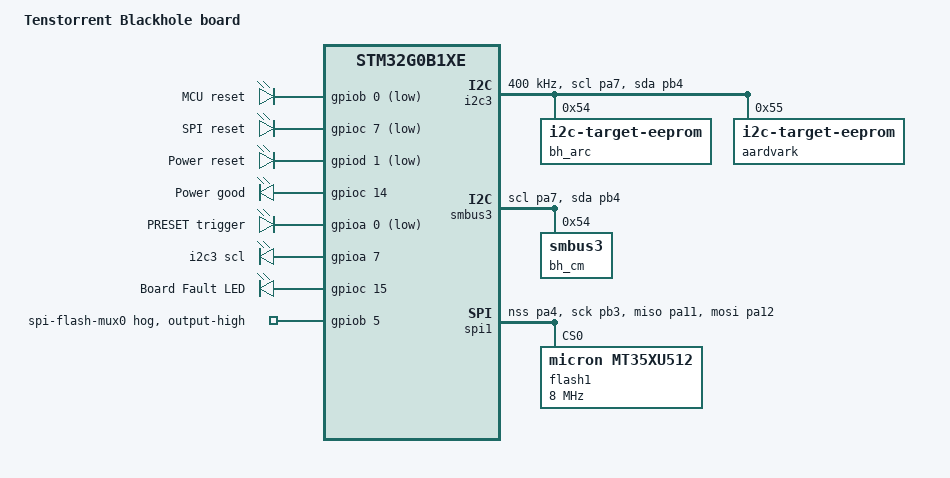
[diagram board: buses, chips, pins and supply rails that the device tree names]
/*
 * Copyright (c) 2024 Tenstorrent AI ULC
 *
 * SPDX-License-Identifier: Apache-2.0
 */

/dts-v1/;
#include <st/g0/stm32g0b1Xe.dtsi>
#include <st/g0/stm32g0b1c(b-c-e)tx-pinctrl.dtsi>

/ {
	model = "Tenstorrent Blackhole board";
	compatible = "tenstorrent,blackhole";

	chosen {
		zephyr,sram = &sram0;
		zephyr,flash = &flash0;
		zephyr,code-partition = &slot0_partition;
	};

	mcureset {
		compatible = "gpio-leds";
		mcureset0: mcureset {
			label = "MCU reset";
			gpios = <&gpiob 0 GPIO_ACTIVE_LOW>;
		};

		spireset0: spireset {
			label = "SPI reset";
			gpios = <&gpioc 7 GPIO_ACTIVE_LOW>;
		};

		powerreset0: powerreset {
			label = "Power reset";
			gpios = <&gpiod 1 GPIO_ACTIVE_LOW>;
		};

		pgood0: pgood {
			label = "Power good";
			gpios = <&gpioc 14 GPIO_PULL_DOWN>;
		};

		presettrigger0: preset_trigger {
			label = "PRESET trigger";
			gpios = <&gpioa 0 GPIO_ACTIVE_LOW>;
		};

		i2c_scl: i2cscl {
			label = "i2c3 scl";
			gpios = <&gpioa 7 GPIO_ACTIVE_HIGH>;
		};

		board_fault_led: boardfaultled {
			label = "Board Fault LED";
			gpios = <&gpioc 15 GPIO_ACTIVE_HIGH>;
		};
	};

	aliases {
		die-temp0 = &die_temp;
		volt-sensor0 = &vref;
		i2c1 = &i2c1;
		cm-i2c = &i2c3;
		reset-mcu = &mcureset0;
		reset-spi = &spireset0;
		reset-power = &powerreset0;
		pgood = &pgood0;
		preset-trigger = &presettrigger0;
		i2c3-scl = &i2c_scl;

		bh-smbus = &smbus3;
		board-fault-led = &board_fault_led;
	};
};

&clk_lsi {
	clock-frequency = <DT_FREQ_K(32)>;
	status = "okay";
};

&clk_hsi {
	clock-frequency = <DT_FREQ_M(16)>;
	status = "okay";
};

&pll {
	clocks = <&clk_hsi>;
	div-m = <1>;
	mul-n = <8>;
	div-r = <2>;
	div-q = <2>;
	div-p = <2>;
	status = "okay";
};

&rcc {
	clocks = <&pll>;
	clock-frequency = <DT_FREQ_M(64)>;
	ahb-prescaler = <1>;
	apb1-prescaler = <1>;
};

&i2c3 {
	pinctrl-0 = <&i2c3_scl_pa7 &i2c3_sda_pb4>;
	pinctrl-names = "default";
	status = "okay";
	clock-frequency = <I2C_BITRATE_FAST>;
	compatible = "st,tt-stm32-i2c";

	scl-gpios = <&gpioa 7 GPIO_OPEN_DRAIN>;
	sda-gpios = <&gpiob 4 GPIO_OPEN_DRAIN>;

	bh_arc: i2c@54 {
		compatible = "zephyr,i2c-target-eeprom";
		reg = <0x54>;
		status = "okay";
	};

	aardvark: eeprom@55 {
		compatible = "zephyr,i2c-target-eeprom";
		reg = <0x55>;
		status = "okay";
	};
};

&smbus3 {
	status = "okay";
	pinctrl-0 = <&i2c3_scl_pa7 &i2c3_sda_pb4>;
	pinctrl-names = "default";
	compatible = "st,tt-stm32-smbus";

	bh_cm: smbus3@54 {
		reg = <0x54>;
		status = "okay";
	};
};

/* This GPIO hog is required for the SPI flash mux to work at startup */
&gpiob {
	status = "okay";

	spi-flash-mux0 {
		gpio-hog;
		gpios = <5 GPIO_ACTIVE_HIGH>;
		output-high;
	};
};

&spi1 {
	pinctrl-0 = <&spi1_nss_pa4 &spi1_sck_pb3
			 &spi1_miso_pa11 &spi1_mosi_pa12>;
	pinctrl-names = "default";
	status = "okay";

	flash1: flash@0 {
		/* base properties */
		compatible = "micron,mt35xu512", "jedec,spi-nor";
		status = "okay";

		/* spi-device properties */
		reg = <0>;
		 /*
		  * TODO: the stm32 driver works with clock in range [250000, 31999999] Hz. Bump this
		  * back up to 32 Mhz as a separate change later.
		  */
		spi-max-frequency = <7999999>;
		spi-cpol;
		spi-cpha;

		/* jedec,spi-nor properties */
		size = <DT_SIZE_M(512)>; /* Size in bits */

		/* jedec,spi-nor-common properties */
		has-dpd;
		t-enter-dpd = <3000>;
		t-exit-dpd = <30000>;

		/* jedec,jesd216 properties */
		sfdp-bfp = [
			e5 20 8a ff  ff ff ff 1f  00 00 00 00  00 00 00 00
			ee ff ff ff  ff ff 00 00  ff ff 00 00  0c 20 11 d8
			0f 52 00 00  39 61 99 00  87 8e 03 d3  ac a1 27 3d
			7a 75 7a 75  fb bd d5 5c  00 00 70 ff  81 50 f8 a1
			2f cb 27 8b  00 00 04 01  00 06 01 00  ff ff ff 8e
			00 00 00 00  00 00 00 00  00 00 00 00
		];
		jedec-id = [2c 5b 1a];
	};
};

&flash0 {
	/* TODO:
	 * Move slot1_partition to spi flash.
	 * Ensure main flash erase size agrees with minimal subsector erase size of SPI flash,
	 * i.e. 4096 bytes. Currently sectors are 2048 bytes on stm32g071rb and this value is
	 * likely hard-coded in several places.
	 */
	/* erase-block-size = <4096>; */

	partitions {
		compatible = "fixed-partitions";
		#address-cells = <1>;
		#size-cells = <1>;

		boot_partition: partition@0 {
			label = "mcuboot";
			reg = <0x00000000 DT_SIZE_K(48)>;
			read-only;
		};

		slot0_partition: partition@c000 {
			label = "image-0";
			reg = <0x0000c000 (DT_SIZE_K(226) + DT_SIZE_K(6))>;
		};

		slot1_partition: partition@46000 {
			label = "image-1";
			reg = <0x00046000 DT_SIZE_K(226)>;
		};
	};
};
